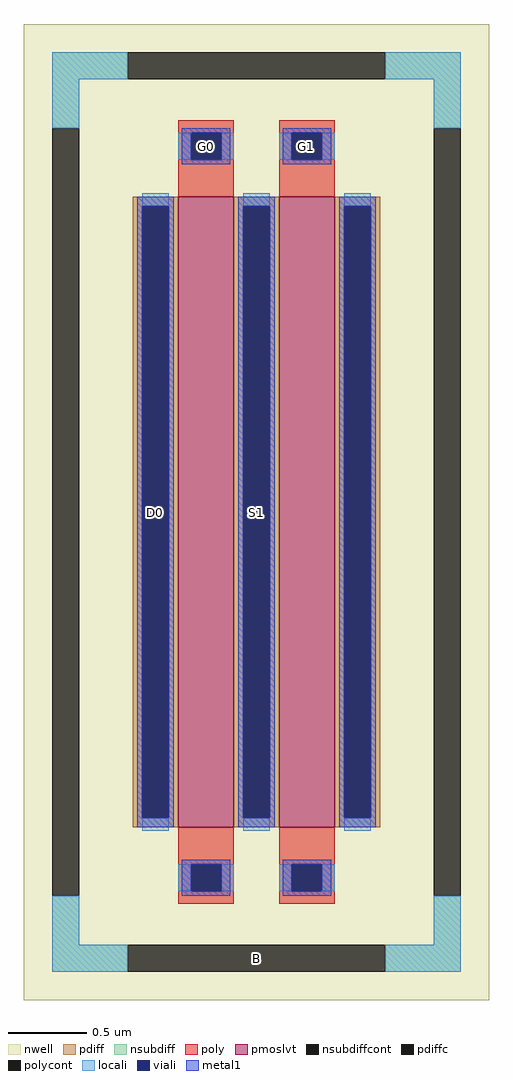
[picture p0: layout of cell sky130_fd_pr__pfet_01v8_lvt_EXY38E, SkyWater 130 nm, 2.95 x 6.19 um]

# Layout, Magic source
magic
tech sky130A
magscale 1 2
<< nwell >>
rect -295 -619 295 619
<< pmoslvt >>
rect -99 -400 -29 400
rect 29 -400 99 400
<< pdiff >>
rect -157 388 -99 400
rect -157 -388 -145 388
rect -111 -388 -99 388
rect -157 -400 -99 -388
rect -29 388 29 400
rect -29 -388 -17 388
rect 17 -388 29 388
rect -29 -400 29 -388
rect 99 388 157 400
rect 99 -388 111 388
rect 145 -388 157 388
rect 99 -400 157 -388
<< pdiffc >>
rect -145 -388 -111 388
rect -17 -388 17 388
rect 111 -388 145 388
<< nsubdiff >>
rect -259 549 -163 583
rect 163 549 259 583
rect -259 487 -225 549
rect 225 487 259 549
rect -259 -549 -225 -487
rect 225 -549 259 -487
rect -259 -583 -163 -549
rect 163 -583 259 -549
<< nsubdiffcont >>
rect -163 549 163 583
rect -259 -487 -225 487
rect 225 -487 259 487
rect -163 -583 163 -549
<< poly >>
rect -99 481 -29 497
rect -99 447 -83 481
rect -45 447 -29 481
rect -99 400 -29 447
rect 29 481 99 497
rect 29 447 45 481
rect 83 447 99 481
rect 29 400 99 447
rect -99 -447 -29 -400
rect -99 -481 -83 -447
rect -45 -481 -29 -447
rect -99 -497 -29 -481
rect 29 -447 99 -400
rect 29 -481 45 -447
rect 83 -481 99 -447
rect 29 -497 99 -481
<< polycont >>
rect -83 447 -45 481
rect 45 447 83 481
rect -83 -481 -45 -447
rect 45 -481 83 -447
<< locali >>
rect -259 549 -163 583
rect 163 549 259 583
rect -259 487 -225 549
rect 225 487 259 549
rect -99 447 -83 481
rect -45 447 -29 481
rect 29 447 45 481
rect 83 447 99 481
rect -145 388 -111 404
rect -145 -404 -111 -388
rect -17 388 17 404
rect -17 -404 17 -388
rect 111 388 145 404
rect 111 -404 145 -388
rect -99 -481 -83 -447
rect -45 -481 -29 -447
rect 29 -481 45 -447
rect 83 -481 99 -447
rect -259 -549 -225 -487
rect 225 -549 259 -487
rect -259 -583 -163 -549
rect 163 -583 259 -549
<< viali >>
rect -83 447 -45 481
rect 45 447 83 481
rect -145 -388 -111 388
rect -17 -388 17 388
rect 111 -388 145 388
rect -83 -481 -45 -447
rect 45 -481 83 -447
<< metal1 >>
rect -95 481 -33 487
rect -95 447 -83 481
rect -45 447 -33 481
rect -95 441 -33 447
rect 33 481 95 487
rect 33 447 45 481
rect 83 447 95 481
rect 33 441 95 447
rect -151 388 -105 400
rect -151 -388 -145 388
rect -111 -388 -105 388
rect -151 -400 -105 -388
rect -23 388 23 400
rect -23 -388 -17 388
rect 17 -388 23 388
rect -23 -400 23 -388
rect 105 388 151 400
rect 105 -388 111 388
rect 145 -388 151 388
rect 105 -400 151 -388
rect -95 -447 -33 -441
rect -95 -481 -83 -447
rect -45 -481 -33 -447
rect -95 -487 -33 -481
rect 33 -447 95 -441
rect 33 -481 45 -447
rect 83 -481 95 -447
rect 33 -487 95 -481
<< labels >>
rlabel nsubdiffcont 0 -566 0 -566 0 B
port 1 nsew
rlabel pdiffc -128 0 -128 0 0 D0
port 2 nsew
rlabel polycont -64 464 -64 464 0 G0
port 3 nsew
rlabel pdiffc 0 0 0 0 0 S1
port 4 nsew
rlabel polycont 64 464 64 464 0 G1
port 5 nsew
<< properties >>
string FIXED_BBOX -242 -566 242 566
string gencell sky130_fd_pr__pfet_01v8_lvt
string library sky130
string parameters w 4.0 l 0.35 m 1 nf 2 diffcov 100 polycov 100 guard 1 glc 1 grc 1 gtc 1 gbc 1 tbcov 100 rlcov 100 topc 1 botc 1 poverlap 0 doverlap 1 lmin 0.35 wmin 0.42 class mosfet compatible {sky130_fd_pr__pfet_01v8  sky130_fd_pr__pfet_01v8_lvt sky130_fd_pr__pfet_01v8_hvt  sky130_fd_pr__pfet_g5v0d10v5} full_metal 1 conn_gates 0 viasrc 100 viadrn 100 viagate 100 viagb 0 viagr 0 viagl 0 viagt 0 doports 1
<< end >>
